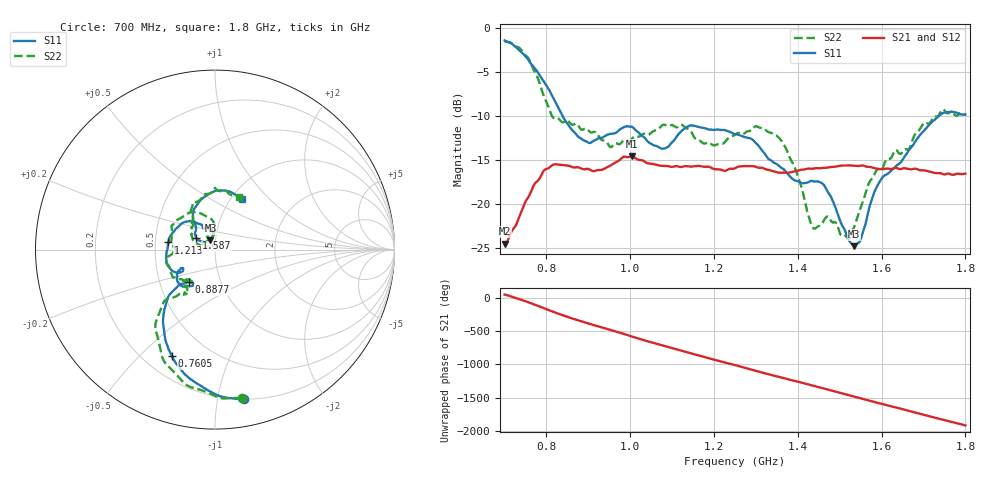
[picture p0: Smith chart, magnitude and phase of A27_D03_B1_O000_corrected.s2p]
! Created with skrf 1.9.0 (http://scikit-rf.org).
# Hz S RI R 50.0
!freq ReS11 ImS11 ReS21 ImS21 ReS12 ImS12 ReS22 ImS22
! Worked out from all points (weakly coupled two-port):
!   1601 points, 700 MHz to 1.8 GHz, reference 50 ohm
!   highest |S21| = -14.60 dB at 1.004 GHz (marker M1); lowest = -24.5 dB at 701.4 MHz (marker M2)
!   lowest |S11| = -24.8 dB at 1.535 GHz (marker M3), VSWR 1.12, Z = 47.3 + j4.87 ohm
!   |S11| at or under -10 dB: 838.3 MHz to 1.737 GHz (898.6 MHz wide, 69.8 % of centre)
!   |S22| runs from -24.0 to -1.5 dB; largest |S21 - S12| = 0.0035
!   S11 on the Smith chart (normalised r, x): 700 MHz: 0.20, -1.19; 760.5 MHz: 0.31, -0.63; 887.7 MHz: 0.71, -0.27; 1.213 GHz: 0.58, +0.05; 1.587 GHz: 0.80, +0.10; 1.8 GHz: 1.12, +0.71
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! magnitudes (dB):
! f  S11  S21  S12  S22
! 700 MHz  -1.4  -24.5  -24.3  -1.5
! 701.4 MHz  -1.4  -24.5  -24.2  -1.5
! 760.5 MHz  -3.9  -18.9  -18.8  -3.8
! 814.8 MHz  -7.8  -15.6  -15.6  -10.1
! 883.6 MHz  -12.6  -16.0  -15.9  -11.6
! 887.7 MHz  -12.8  -16.1  -15.9  -11.6
! 953 MHz  -12.0  -15.6  -15.6  -13.6
! 1.004 GHz  -11.2  -14.6  -14.7  -12.6
! 1.067 GHz  -13.5  -15.6  -15.6  -11.5
! 1.142 GHz  -11.1  -15.8  -15.7  -11.6
! 1.213 GHz  -11.6  -16.1  -16.1  -13.2
! 1.25 GHz  -12.1  -16.0  -15.9  -12.1
! 1.357 GHz  -15.8  -16.5  -16.4  -12.6
! 1.395 GHz  -17.4  -16.3  -16.3  -16.2
! 1.434 GHz  -17.4  -16.0  -16.0  -22.5
! 1.464 GHz  -18.0  -15.9  -15.9  -21.7
! 1.52 GHz  -23.9  -15.6  -15.6  -24.0
! 1.535 GHz  -24.8  -15.7  -15.7  -22.6
! 1.587 GHz  -18.2  -16.0  -16.0  -16.3
! 1.617 GHz  -16.5  -16.0  -16.0  -14.9
! 1.74 GHz  -9.9  -16.5  -16.5  -9.7
! 1.8 GHz  -9.9  -16.6  -16.6  -9.9
